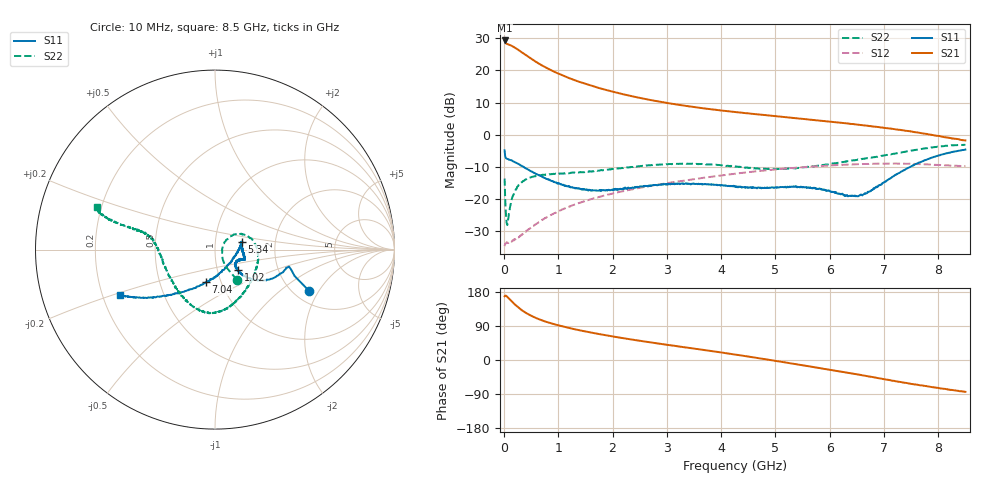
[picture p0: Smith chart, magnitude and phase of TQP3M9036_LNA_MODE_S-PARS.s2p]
! TriQuint
! TQP3M9036
! 8-pin 2x2mm DFN Package
! The data is for the device in a 50 Ohm system, 2-port file de-embedded to the device leads.
! Device bias: +5V V @ 70 mA Idq
!Lot 131
! Temperature: 25C
! Date: 07/23/2012
!  Port 1 corresponds to Pin 2 on TQP3M9036 (RF input)
!  Port 2 corresponds to Pin 7 on TQP3M9036 (RF output)
! All data in ma (Magnitude/Angle) format
! freq-unit  param-type  data-format  keyword  impedance-ohms
# Hz S dB R 50
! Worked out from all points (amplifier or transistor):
!   850 points, 10 MHz to 8.5 GHz, reference 50 ohm
!   highest |S21| = 29.3 dB at 10 MHz (marker M1)
!   |S21| within 3 dB of that: start of sweep to 268.5 MHz
!   unconditionally stable (mu >= 1): 23.66 MHz to end of sweep
!   at 1.42 GHz: K = 1.11, MAG = 16.6 dB, |S12| = -21.0 dB
!   at 4.26 GHz: K = 1.11, MAG = 7.6 dB, |S12| = -12.1 dB
!   at 8.5 GHz: K = 1.15, MAG = 1.6 dB, |S12| = -9.7 dB
!   lowest NFmin = 0.35 dB at 1.7 GHz
!   S11 on the Smith chart (normalised r, x): 10 MHz: 2.41, -1.65; 1.02 GHz: 1.26, -0.30; 5.34 GHz: 1.35, +0.12; 7.04 GHz: 0.84, -0.32; 8.5 GHz: 0.27, -0.21
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1e7  -4.84 -23.7  29.32 168.0  -34.64 28.0  -13.63 -54.1
6e7  -7.53 -13.1  28.21 166.7  -33.55 13.2  -28.09 1.8
1.5e8  -8.07 -19.1  27.56 153.4  -33.08 21.3  -19.52 41.8
2.1e8  -8.59 -24.1  26.96 145.1  -32.49 28.8  -17.22 38.2
2.7e8  -9.11 -27.9  26.30 137.7  -31.91 34.6  -15.56 31.9
3.3e8  -9.73 -31.5  25.59 131.1  -31.10 40.0  -14.75 27.0
4e8  -10.45 -34.9  24.78 124.5  -30.21 44.1  -13.93 20.1
4.6e8  -11.01 -37.1  24.07 119.6  -29.31 47.5  -13.41 15.5
5.3e8  -11.62 -38.8  23.28 114.6  -28.38 50.2  -13.06 10.4
6.1e8  -12.34 -40.8  22.44 109.5  -27.55 53.1  -12.79 4.6
7.9e8  -13.75 -42.0  20.73 100.1  -25.63 55.5  -12.37 -5.9
1.02e9  -15.21 -41.6  18.86 90.7  -23.61 56.0  -12.14 -17.6
1.43e9  -17.01 -36.6  16.21 77.3  -20.95 54.2  -11.66 -36.7
2.04e9  -16.99 -25.8  13.24 61.4  -18.09 47.3  -10.61 -60.5
2.84e9  -15.62 -19.1  10.37 43.5  -15.48 37.3  -9.35 -83.0
4.26e9  -16.18 -5.5  7.07 14.2  -12.11 16.1  -9.94 -122.8
5.34e9  -16.14 16.0  5.22 -10.3  -10.30 -4.4  -10.40 -170.7
5.67e9  -16.60 11.2  4.63 -17.8  -9.90 -11.2  -9.88 178.3
6.51e9  -19.10 -47.9  3.16 -38.2  -9.15 -29.1  -7.85 166.4
7.04e9  -14.45 -106.1  2.08 -51.6  -8.95 -41.7  -6.28 165.5
7.09e9  -13.74 -109.2  1.97 -52.7  -8.97 -42.8  -6.21 165.3
8.5e9  -4.61 -154.6  -1.76 -84.0  -9.72 -73.3  -3.13 159.9
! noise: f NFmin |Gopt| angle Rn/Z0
7e+08  0.356  0.187  10.9  0.062
9e+08  0.452  0.174  22.2  0.06
1.1e+09  0.415  0.14  12.1  0.061
1.3e+09  0.406  0.142  23.7  0.062
1.5e+09  0.377  0.116  -6.64  0.069
1.7e+09  0.346  0.115  23.6  0.062
